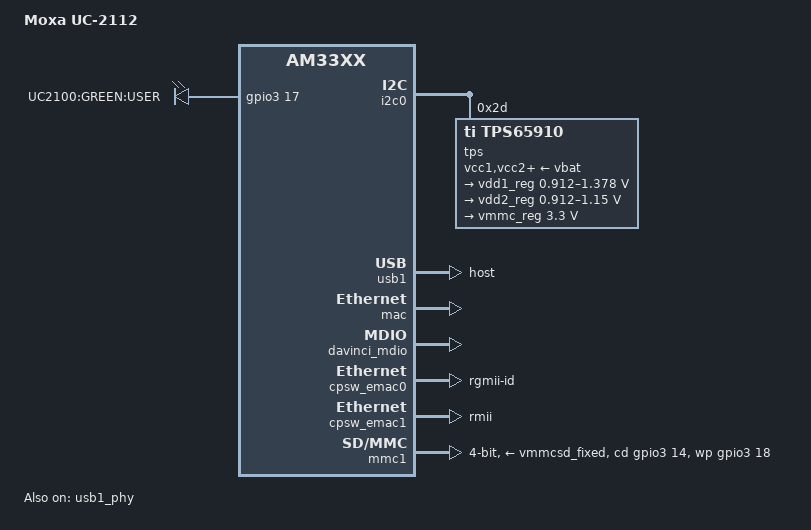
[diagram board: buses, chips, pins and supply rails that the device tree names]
// SPDX-License-Identifier: GPL-2.0
/*
 * Copyright (C) 2018 MOXA Inc. - https://www.moxa.com/
 *
 * Authors: SZ Lin (林上智) <sz.lin@moxa.com>
 *          Wes Huang (黃淵河) <wes.huang@moxa.com>
 *          Fero JD Zhou (周俊達) <FeroJD.Zhou@moxa.com>
 */

/dts-v1/;

#include "am335x-moxa-uc-2100-common.dtsi"

/ {
	model = "Moxa UC-2112";
	compatible = "moxa,uc-2112", "ti,am33xx";

	leds {
		compatible = "gpio-leds";
		led1 {
			label = "UC2100:GREEN:USER";
			gpios = <&gpio3 17 GPIO_ACTIVE_HIGH>;
			default-state = "off";
		};
	};
};

&am33xx_pinmux {
	pinctrl-names = "default";

	cpsw_default: cpsw_default {
		pinctrl-single,pins = <
			/* Slave 1 */
			AM33XX_IOPAD(0x914, PIN_OUTPUT_PULLDOWN | MUX_MODE2)	/* mii1_tx_en.rgmii1_tctl	*/
			AM33XX_IOPAD(0x918, PIN_INPUT_PULLUP | MUX_MODE2)	/* mii1_rx_dv.rgmii1_rctl	*/
			AM33XX_IOPAD(0x91c, PIN_OUTPUT_PULLDOWN | MUX_MODE2)	/* mii1_txd3.rgmii1_txd3	*/
			AM33XX_IOPAD(0x920, PIN_OUTPUT_PULLDOWN | MUX_MODE2)	/* mii1_txd2.rgmii1_txd2	*/
			AM33XX_IOPAD(0x924, PIN_OUTPUT_PULLDOWN | MUX_MODE2)	/* mii1_txd1.rgmii1_txd1	*/
			AM33XX_IOPAD(0x928, PIN_OUTPUT_PULLDOWN | MUX_MODE2)	/* mii1_txd0.rgmii1_txd0	*/
			AM33XX_IOPAD(0x92c, PIN_OUTPUT_PULLDOWN | MUX_MODE2)	/* mii1_tx_clk.rgmii1_txclk	*/
			AM33XX_IOPAD(0x930, PIN_INPUT_PULLUP | MUX_MODE2)	/* mii1_rx_clk.rgmii1_rxclk	*/
			AM33XX_IOPAD(0x934, PIN_INPUT_PULLUP | MUX_MODE2)	/* mii1_rxd3.rgmii1_rxd3	*/
			AM33XX_IOPAD(0x938, PIN_INPUT_PULLUP | MUX_MODE2)	/* mii1_rxd2.rgmii1_rxd2	*/
			AM33XX_IOPAD(0x93c, PIN_INPUT_PULLUP | MUX_MODE2)	/* mii1_rxd1.rgmii1_rxd1	*/
			AM33XX_IOPAD(0x940, PIN_INPUT_PULLUP | MUX_MODE2)	/* mii1_rxd0.rgmii1_rxd0	*/

			/* Slave 2 */
			AM33XX_IOPAD(0x870, PIN_INPUT_PULLDOWN | MUX_MODE3)	/* gpmc_wait0.rmii2_crs_dv */
			AM33XX_IOPAD(0x874, PIN_INPUT_PULLDOWN | MUX_MODE3)	/* gpmc_wpn.rmii2_rxer */
			AM33XX_IOPAD(0x840, PIN_OUTPUT_PULLDOWN | MUX_MODE3)	/* gpmc_a0.rmii2_txen */
			AM33XX_IOPAD(0x854, PIN_OUTPUT_PULLDOWN | MUX_MODE3)	/* gpmc_a5.rmii2_td0 */
			AM33XX_IOPAD(0x850, PIN_OUTPUT_PULLDOWN | MUX_MODE3)	/* gpmc_a4.rmii2_td1 */
			AM33XX_IOPAD(0x86c, PIN_INPUT_PULLDOWN | MUX_MODE3)	/* gpmc_a11.rmii2_rd0 */
			AM33XX_IOPAD(0x868, PIN_INPUT_PULLDOWN | MUX_MODE3)	/* gpmc_a10.rmii2_rd1 */
			AM33XX_IOPAD(0x908, PIN_INPUT_PULLDOWN | MUX_MODE1)	/* gmii1_col.rmii2_refclk */
		>;
	};

	mmc0_pins_default: pinmux_mmc0_pins {
		pinctrl-single,pins = <
			AM33XX_IOPAD(0x8f0, PIN_INPUT_PULLUP | MUX_MODE0)	/* mmc0_dat3 */
			AM33XX_IOPAD(0x8f4, PIN_INPUT_PULLUP | MUX_MODE0)	/* mmc0_dat2 */
			AM33XX_IOPAD(0x8f8, PIN_INPUT_PULLUP | MUX_MODE0)	/* mmc0_dat1 */
			AM33XX_IOPAD(0x8fc, PIN_INPUT_PULLUP | MUX_MODE0)	/* mmc0_dat0 */
			AM33XX_IOPAD(0x900, PIN_INPUT_PULLUP | MUX_MODE0)	/* mmc0_clk */
			AM33XX_IOPAD(0x904, PIN_INPUT_PULLUP | MUX_MODE0)	/* mmc0_cmd */
			AM33XX_IOPAD(0x990, PIN_INPUT_PULLUP | MUX_MODE7)	/* mcasp0_aclkx.mmc0_sdcd */
		>;
	};

	spi1_pins: pinmux_spi1 {
		pinctrl-single,pins = <
			AM33XX_IOPAD(0x964, PIN_INPUT_PULLUP | MUX_MODE4)	 /* ecap0_in_pwm0_out.spi1_sclk */
			AM33XX_IOPAD(0x978, PIN_INPUT_PULLUP | MUX_MODE4)	 /* uart1_ctsn.spi1_cs0 */
			AM33XX_IOPAD(0x968, PIN_INPUT_PULLUP | MUX_MODE4)	 /* uart0_ctsn.spi1_d0 */
			AM33XX_IOPAD(0x96c, PIN_INPUT_PULLUP | MUX_MODE4)	 /* uart0_rtsn.spi1_d1 */
		>;
	};
};

&i2c0 {
	tps: tps@2d {
		compatible = "ti,tps65910";
		reg = <0x2d>;
	};
};

&usb1_phy {
	status = "okay";
};

&usb1 {
	status = "okay";
	dr_mode = "host";
};

#include "tps65910.dtsi"

&tps {
	vcc1-supply = <&vbat>;
	vcc2-supply = <&vbat>;
	vcc3-supply = <&vbat>;
	vcc4-supply = <&vbat>;
	vcc5-supply = <&vbat>;
	vcc6-supply = <&vbat>;
	vcc7-supply = <&vbat>;
	vccio-supply = <&vbat>;

	regulators {
		vrtc_reg: regulator@0 {
			regulator-always-on;
		};

		vio_reg: regulator@1 {
			regulator-always-on;
		};

		vdd1_reg: regulator@2 {
			/* VDD_MPU voltage limits 0.95V - 1.26V with +/-4% tolerance */
			regulator-name = "vdd_mpu";
			regulator-min-microvolt = <912500>;
			regulator-max-microvolt = <1378000>;
			regulator-boot-on;
			regulator-always-on;
		};

		vdd2_reg: regulator@3 {
			/* VDD_CORE voltage limits 0.95V - 1.1V with +/-4% tolerance */
			regulator-name = "vdd_core";
			regulator-min-microvolt = <912500>;
			regulator-max-microvolt = <1150000>;
			regulator-boot-on;
			regulator-always-on;
		};

		vdd3_reg: regulator@4 {
			regulator-always-on;
		};

		vdig1_reg: regulator@5 {
			regulator-always-on;
		};

		vdig2_reg: regulator@6 {
			regulator-always-on;
		};

		vpll_reg: regulator@7 {
			regulator-always-on;
		};

		vdac_reg: regulator@8 {
			regulator-always-on;
		};

		vaux1_reg: regulator@9 {
			regulator-always-on;
		};

		vaux2_reg: regulator@10 {
			regulator-always-on;
		};

		vaux33_reg: regulator@11 {
			regulator-always-on;
		};

		vmmc_reg: regulator@12 {
			compatible = "regulator-fixed";
			regulator-name = "vmmc_reg";
			regulator-min-microvolt = <3300000>;
			regulator-max-microvolt = <3300000>;
			regulator-always-on;
		};
	};
};

&mac {
	pinctrl-names = "default";
	pinctrl-0 = <&cpsw_default>;
	dual_emac = <1>;
	status = "okay";
};

&davinci_mdio {
	pinctrl-names = "default";
	pinctrl-0 = <&davinci_mdio_default>;
	status = "okay";
};

&cpsw_emac0 {
	status = "okay";
	phy_id = <&davinci_mdio>, <0x1>;
	phy-mode = "rgmii-id";
	dual_emac_res_vlan = <1>;
};

&cpsw_emac1 {
	status = "okay";
	phy_id = <&davinci_mdio>, <0x5>;
	phy-mode = "rmii";
	dual_emac_res_vlan = <2>;
};

&mmc1 {
	pinctrl-names = "default";
	vmmc-supply = <&vmmcsd_fixed>;
	bus-width = <4>;
	pinctrl-0 = <&mmc0_pins_default>;
	cd-gpios = <&gpio3 14 GPIO_ACTIVE_HIGH>;
	wp-gpios = <&gpio3 18 GPIO_ACTIVE_HIGH>;
	status = "okay";
};
